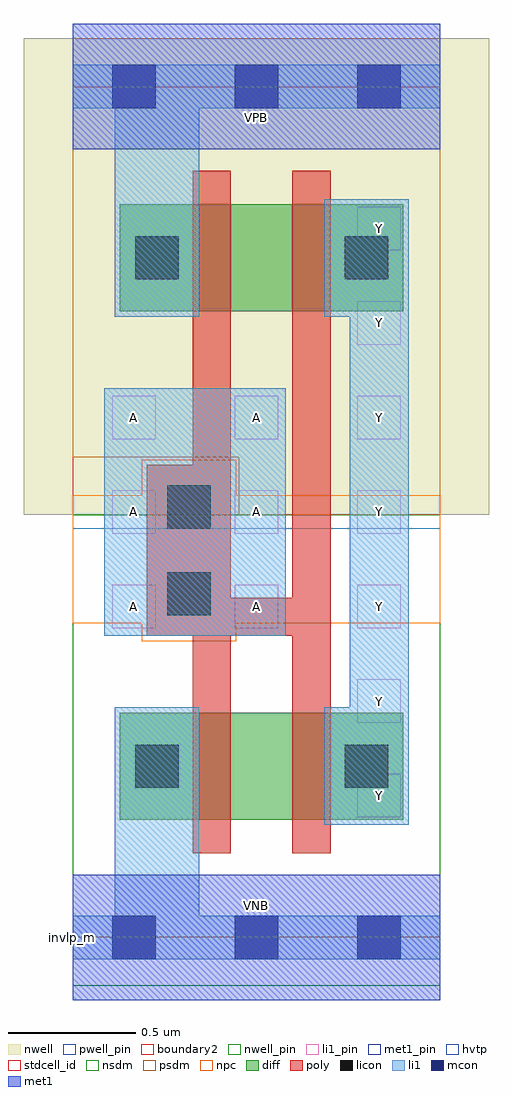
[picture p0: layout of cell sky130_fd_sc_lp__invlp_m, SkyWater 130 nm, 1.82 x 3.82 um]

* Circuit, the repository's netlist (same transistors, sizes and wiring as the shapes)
* Copyright 2020 The SkyWater PDK Authors
*
* Licensed under the Apache License, Version 2.0 (the "License");
* you may not use this file except in compliance with the License.
* You may obtain a copy of the License at
*
*     https://www.apache.org/licenses/LICENSE-2.0
*
* Unless required by applicable law or agreed to in writing, software
* distributed under the License is distributed on an "AS IS" BASIS,
* WITHOUT WARRANTIES OR CONDITIONS OF ANY KIND, either express or implied.
* See the License for the specific language governing permissions and
* limitations under the License.
*
* SPDX-License-Identifier: Apache-2.0

.SUBCKT sky130_fd_sc_lp__invlp_m A VGND VNB VPB VPWR Y
*.PININFO A:I VGND:I VNB:I VPB:I VPWR:I Y:O
MMIP1 Y A net14 VPB sky130_fd_pr__pfet_01v8_hvt m=1 w=0.42U l=0.15U mult=1 sa=0.265
+ sb=0.265 sd=0.28 area=0.063 perim=1.14
MI6 net14 A VPWR VPB sky130_fd_pr__pfet_01v8_hvt m=1 w=0.42U l=0.15U mult=1 sa=0.265
+ sb=0.265 sd=0.28 area=0.063 perim=1.14
MMIN1 Y A net22 VNB sky130_fd_pr__nfet_01v8 m=1 w=0.42U l=0.15U mult=1 sa=0.265
+ sb=0.265 sd=0.28 area=0.063 perim=1.14
MI5 net22 A VGND VNB sky130_fd_pr__nfet_01v8 m=1 w=0.42U l=0.15U mult=1 sa=0.265
+ sb=0.265 sd=0.28 area=0.063 perim=1.14
.ENDS sky130_fd_sc_lp__invlp_m

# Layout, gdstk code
import gdstk
lib = gdstk.Library(unit=1e-6, precision=1e-09)
def R(c, l, rs):  # rectangles x0, y0, x1, y1
    for r in rs: c.add(gdstk.rectangle(r[:2], r[2:], *l))
def A(c, l, x, y, w, h, nx, ny, dx, dy):  # array of equal rectangles
    R(c, l, [(x+i*dx, y+j*dy, x+i*dx+w, y+j*dy+h) for i in range(nx) for j in range(ny)])
def P(c, l, *ps):  # polygons
    for p in ps: c.add(gdstk.Polygon(p, *l))
nwell_pin = (64, 16)
nwell = (64, 20)
diff = (65, 20)
poly = (66, 20)
licon = (66, 44)
li1_pin = (67, 16)
li1 = (67, 20)
mcon = (67, 44)
met1_pin = (68, 16)
met1 = (68, 20)
hvtp = (78, 44)
stdcell_id = (81, 4)
nsdm = (93, 44)
psdm = (94, 20)
npc = (95, 20)
pwell_pin = (122, 16)
boundary2 = (236, 0)

sky130_fd_sc_lp__invlp_m = lib.new_cell('sky130_fd_sc_lp__invlp_m')
R(sky130_fd_sc_lp__invlp_m, nwell_pin, [(0,3.085,1.44,3.33)])
R(sky130_fd_sc_lp__invlp_m, nwell, [(-0.19,1.655,1.63,3.52)])
R(sky130_fd_sc_lp__invlp_m, diff, [(0.185,0.46,1.295,0.88), (0.185,2.45,1.295,2.87)])
P(sky130_fd_sc_lp__invlp_m, poly, [(1.01,3),(0.86,3),(0.86,1.33),(0.62,1.33),(0.62,3),(0.47,3),(0.47,1.85),(0.29,1.85),(0.29,1.18),(0.47,1.18),(0.47,0.33),(0.62,0.33),(0.62,1.18),(0.86,1.18),(0.86,0.33),(1.01,0.33)])
R(sky130_fd_sc_lp__invlp_m, licon, [(0.245,0.585,0.415,0.755), (1.065,0.585,1.235,0.755), (0.37,1.26,0.54,1.43), (0.37,1.6,0.54,1.77), (0.245,2.575,0.415,2.745), (1.065,2.575,1.235,2.745)])
A(sky130_fd_sc_lp__invlp_m, li1_pin, 0.155, 1.21, 0.17, 0.17, 3, 3, 0.48, 0.37)
R(sky130_fd_sc_lp__invlp_m, li1_pin, [(1.115,0.47,1.285,0.64), (1.115,0.84,1.285,1.01), (1.115,2.32,1.285,2.49), (1.115,2.69,1.285,2.86)])
R(sky130_fd_sc_lp__invlp_m, li1, [(0.125,1.18,0.835,2.15)])
P(sky130_fd_sc_lp__invlp_m, li1, [(0.165,2.43),(0.165,3.245),(0,3.245),(0,3.415),(1.44,3.415),(1.44,3.245),(0.495,3.245),(0.495,2.43)],
  [(0.165,0.085),(0.165,0.9),(0.495,0.9),(0.495,0.085),(1.44,0.085),(1.44,-0.085),(0,-0.085),(0,0.085)],
  [(0.985,2.43),(0.985,2.89),(1.315,2.89),(1.315,0.44),(0.985,0.44),(0.985,0.9),(1.085,0.9),(1.085,2.43)])
A(sky130_fd_sc_lp__invlp_m, mcon, 0.155, -0.085, 0.17, 0.17, 3, 2, 0.48, 3.33)
R(sky130_fd_sc_lp__invlp_m, met1_pin, [(0,0,1.44,0.245), (0,3.085,1.44,3.33)])
R(sky130_fd_sc_lp__invlp_m, met1, [(0,-0.245,1.44,0.245), (0,3.085,1.44,3.575)])
R(sky130_fd_sc_lp__invlp_m, hvtp, [(0,1.6,1.44,3.33)])
R(sky130_fd_sc_lp__invlp_m, stdcell_id, [(0,0,1.44,3.33)])
R(sky130_fd_sc_lp__invlp_m, nsdm, [(0,-0.19,1.44,1.655)])
P(sky130_fd_sc_lp__invlp_m, psdm, [(1.44,3.52),(0,3.52),(0,1.88),(0.65,1.88),(0.65,1.655),(1.44,1.655)])
P(sky130_fd_sc_lp__invlp_m, npc, [(1.44,1.73),(0.64,1.73),(0.64,1.87),(0.27,1.87),(0.27,1.73),(0,1.73),(0,1.23),(0.27,1.23),(0.27,1.16),(0.64,1.16),(0.64,1.23),(1.44,1.23)])
R(sky130_fd_sc_lp__invlp_m, pwell_pin, [(0,0,1.44,0.245)])
R(sky130_fd_sc_lp__invlp_m, boundary2, [(0,0,1.44,3.33)])
sky130_fd_sc_lp__invlp_m.add(gdstk.Label('VNB', (0.72,0.123), layer=64, texttype=59))
sky130_fd_sc_lp__invlp_m.add(gdstk.Label('VPB', (0.72,3.208), layer=64, texttype=5))
sky130_fd_sc_lp__invlp_m.add(gdstk.Label('invlp_m', (0,0), layer=83, texttype=44))
sky130_fd_sc_lp__invlp_m.add(gdstk.Label('VPWR', (0.72,3.208), layer=68, texttype=5))
sky130_fd_sc_lp__invlp_m.add(gdstk.Label('VGND', (0.72,0.123), layer=68, texttype=5))
sky130_fd_sc_lp__invlp_m.add(gdstk.Label('A', (0.24,1.295), layer=67, texttype=5))
sky130_fd_sc_lp__invlp_m.add(gdstk.Label('A', (0.24,1.665), layer=67, texttype=5))
sky130_fd_sc_lp__invlp_m.add(gdstk.Label('A', (0.24,2.035), layer=67, texttype=5))
sky130_fd_sc_lp__invlp_m.add(gdstk.Label('A', (0.72,1.295), layer=67, texttype=5))
sky130_fd_sc_lp__invlp_m.add(gdstk.Label('A', (0.72,1.665), layer=67, texttype=5))
sky130_fd_sc_lp__invlp_m.add(gdstk.Label('A', (0.72,2.035), layer=67, texttype=5))
sky130_fd_sc_lp__invlp_m.add(gdstk.Label('Y', (1.2,0.555), layer=67, texttype=5))
sky130_fd_sc_lp__invlp_m.add(gdstk.Label('Y', (1.2,0.925), layer=67, texttype=5))
sky130_fd_sc_lp__invlp_m.add(gdstk.Label('Y', (1.2,1.295), layer=67, texttype=5))
sky130_fd_sc_lp__invlp_m.add(gdstk.Label('Y', (1.2,1.665), layer=67, texttype=5))
sky130_fd_sc_lp__invlp_m.add(gdstk.Label('Y', (1.2,2.035), layer=67, texttype=5))
sky130_fd_sc_lp__invlp_m.add(gdstk.Label('Y', (1.2,2.405), layer=67, texttype=5))
sky130_fd_sc_lp__invlp_m.add(gdstk.Label('Y', (1.2,2.775), layer=67, texttype=5))

lib.write_gds('sky130_fd_sc_lp__invlp_m.gds')
